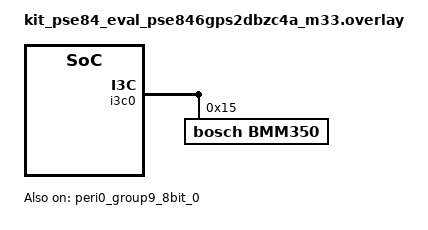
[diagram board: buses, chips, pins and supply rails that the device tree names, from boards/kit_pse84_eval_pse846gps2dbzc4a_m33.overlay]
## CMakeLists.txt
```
# SPDX-License-Identifier: Apache-2.0

cmake_minimum_required(VERSION 3.28.0)
find_package(Zephyr REQUIRED HINTS $ENV{ZEPHYR_BASE})
project(magn_polling)

FILE(GLOB app_sources src/*.c)
target_sources(app PRIVATE ${app_sources})
```

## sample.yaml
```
sample:
  name: Magnetometer Polling Sample
tests:
  sample.sensor.magn_polling:
    harness: sensor
    tags: sensors
    filter: dt_alias_exists("magn0")
    integration_platforms:
      - frdm_k64f               # fxos8700
      - thingy53/nrf5340/cpuapp # bmm150
      - sensortile_box          # lis2mdl
      - stm32f411e_disco        # lsm303agr_magn
      - stm32f3_disco           # lsm303dlhc_magn
  sample.sensor.magn_polling.shields:
    platform_allow:
      - adafruit_qt_py_rp2040/rp2040       # adafruit_lis2mdl shield
      - adafruit_feather_rp2040/rp2040       # adafruit_lis3mdl shield
      - mikroe_clicker_ra4m1/r7fa4m1ab3cfm # mikroe_3d_hall_3_click shield
    extra_args:
      - platform:adafruit_qt_py_rp2040/rp2040:SHIELD="adafruit_lis2mdl"
      - platform:adafruit_feather_rp2040/rp2040:SHIELD="adafruit_lis3mdl"
      - platform:mikroe_clicker_ra4m1/r7fa4m1ab3cfm:SHIELD="mikroe_3d_hall_3_click"
```

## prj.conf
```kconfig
CONFIG_STDOUT_CONSOLE=y
CONFIG_I2C=y
CONFIG_SENSOR=y
CONFIG_BMC150_MAGN=y
CONFIG_CBPRINTF_FP_SUPPORT=y
```

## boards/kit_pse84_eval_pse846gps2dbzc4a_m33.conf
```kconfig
# SPDX-FileCopyrightText: Copyright (c) 2026 Infineon Technologies AG,
# SPDX-FileCopyrightText: or an affiliate of Infineon Technologies AG. All rights reserved.

CONFIG_I3C_CONTROLLER_ROLE_ONLY=y
```

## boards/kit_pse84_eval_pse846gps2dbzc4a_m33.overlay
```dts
/*
 * SPDX-FileCopyrightText: Copyright (c) 2026 Infineon Technologies AG,
 * SPDX-FileCopyrightText: or an affiliate of Infineon Technologies AG. All rights reserved.
 */

/ {
	aliases {
		magn0 = &bmm350;
	};
};

/* CFGOUT3 mode is mandatory on the I3C pads: without it the ACK detector
 * cannot sample SDA and every transfer reports ADDRESS_NACK.
 */
&p3_0_i3c0_i3c_scl {
	infineon,cfgout3-mode;
	infineon,cfgout3-pullup-ohms = <1100>;
	bias-pull-up;
};

&p3_1_i3c0_i3c_sda {
	infineon,cfgout3-mode;
	infineon,cfgout3-pullup-ohms = <1100>;
	bias-pull-up;
};

&gpio_prt3 {
	status = "okay";
};

/* CLK_HF[13] is 100 MHz; divide by two for a 50 MHz I3C core clock. */
&peri0_group9_8bit_0 {
	status = "okay";
	clock-div = <2>;
};

&i3c0 {
	status = "okay";
	clocks = <&peri0_group9_8bit_0>;
	pinctrl-0 = <&p3_0_i3c0_i3c_scl &p3_1_i3c0_i3c_sda>;
	pinctrl-names = "default";
	i3c-scl-hz = <1000000>;
	i2c-scl-hz = <400000>;
	primary-controller-da = <0x08>;

	/* The BMM350 datasheet requires 160ns per Table 14, far above the
	 * binding default of 24ns.  Given margin to 180ns.
	 * t_low set to 600ns to give margin over the FM+ I2C minimum of 500ns -
	 * this sensor starts in I2C mode until it gets DAA'd, after which it
	 * transitions into I3C mode
	 */
	od-thigh-min-ns = <180>;
	od-tlow-min-ns = <600>;

	/* While in I2C mode, it applies an I2C spike filter, so it discards a
	 * START shorter than 120 ns (determined through testing) and the 38.4ns
	 * I3C minimum loses the very first broadcast
	 */
	tcas-min-ps = <260000>;

	bmm350: bmm350@150000077010331000 {
		compatible = "bosch,bmm350";
		reg = <0x15 0x00000770 0x10331000>;
		assigned-address = <0x09>;
	};
};
```

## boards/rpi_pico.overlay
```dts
/ {
	aliases {
		magn0 = &tmag5170;
	};
};

&pinctrl {
	pio0_spi0_default: pio0_spi0_default {
		/* gpio 9 is used for chip select, not assigned to the PIO */
		group1 {
			pinmux = <PIO0_P10>, <PIO0_P11>;
		};

		group2 {
			pinmux = <PIO0_P8>;
			input-enable;
		};
	};
};

&pio0 {
	status = "okay";

	pio0_spi0: pio0_spi0 {
		pinctrl-0 = <&pio0_spi0_default>;
		pinctrl-names = "default";

		compatible = "raspberrypi,pico-spi-pio";
		status = "okay";
		#address-cells = <1>;
		#size-cells = <0>;
		clocks = <&clocks RPI_PICO_CLKID_CLK_SYS>;
		sdi-gpios = <&gpio0 8 0>;
		cs-gpios = <&gpio0 9 GPIO_ACTIVE_LOW>;
		clk-gpios = <&gpio0 10 GPIO_ACTIVE_HIGH>;
		sdo-gpios = <&gpio0 11 GPIO_ACTIVE_HIGH>;

		tmag5170: tmag5170@0 {
			compatible = "ti,tmag5170";
			reg = <0>;
			operating-mode = <3>;
			spi-max-frequency = <1000000>; /* conservatively set to 1MHz */
		};
	};
};
```

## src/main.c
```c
/*
 * Copyright (c) 2016 Intel Corporation
 *
 * SPDX-License-Identifier: Apache-2.0
 */

#include <zephyr/kernel.h>
#include <zephyr/device.h>
#include <zephyr/drivers/sensor.h>
#include <zephyr/sys/printk.h>
#include <stdio.h>

int main(void)
{
	const struct device *const dev = DEVICE_DT_GET(DT_ALIAS(magn0));
	struct sensor_value value_x, value_y, value_z;
	int ret;

	if (!device_is_ready(dev)) {
		printk("sensor: device not ready.\n");
		return 0;
	}

	printk("Polling magnetometer data from %s.\n", dev->name);

	while (1) {
		ret = sensor_sample_fetch(dev);
		if (ret) {
			printk("sensor_sample_fetch failed ret %d\n", ret);
			return 0;
		}

		ret = sensor_channel_get(dev, SENSOR_CHAN_MAGN_X, &value_x);
		ret = sensor_channel_get(dev, SENSOR_CHAN_MAGN_Y, &value_y);
		ret = sensor_channel_get(dev, SENSOR_CHAN_MAGN_Z, &value_z);
		printf("( x y z ) = ( %f  %f  %f )\n", sensor_value_to_double(&value_x),
		       sensor_value_to_double(&value_y), sensor_value_to_double(&value_z));

		k_sleep(K_MSEC(500));
	}
	return 0;
}
```
